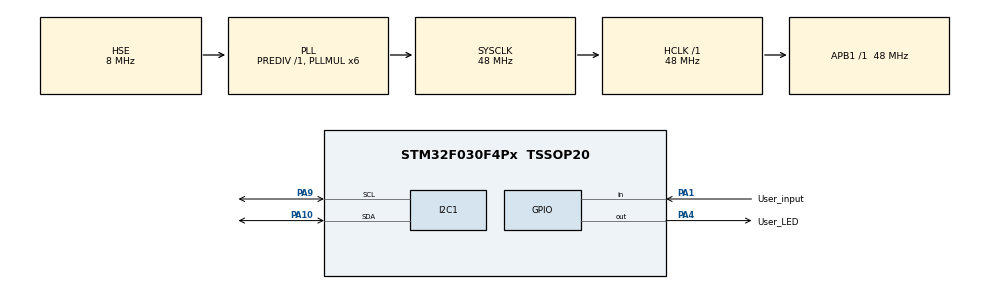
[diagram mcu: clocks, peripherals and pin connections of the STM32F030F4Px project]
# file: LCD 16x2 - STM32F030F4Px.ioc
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Mcu.Family=STM32F0
RCC.PLLSourceVirtual=RCC_PLLSOURCE_HSE
PA10.Mode=I2C
PA1.GPIO_Mode=GPIO_MODE_INPUT
PA10.GPIO_FMA10=__NULL
RCC.SYSCLKSource=RCC_SYSCLKSOURCE_PLLCLK
ProjectManager.StackSize=0x400
PA10.GPIO_Mode=GPIO_MODE_AF_OD
PA13.Signal=SYS_SWDIO
PA9.Mode=I2C
ProjectManager.TargetToolchain=STM32CubeIDE
RCC.HCLKFreq_Value=48000000
PA9.Signal=I2C1_SCL
PA1.GPIO_PuPd=GPIO_PULLUP
PA1.Signal=GPIO_Input
RCC.AHBFreq_Value=48000000
PF0-OSC_IN.Mode=HSE-External-Oscillator
board=custom
RCC.PLLMUL=RCC_PLL_MUL6
PA14.Mode=Serial_Wire
PA1.GPIO_Label=User_input
PA9.GPIO_PuPdOD=GPIO_PULLUP
PA13.Mode=Serial_Wire
Mcu.Name=STM32F030F4Px
PA4.Signal=GPIO_Output
RCC.SYSCLKFreq_VALUE=48000000
Mcu.Package=TSSOP20
PA10.Signal=I2C1_SDA
PA14.Signal=SYS_SWCLK
ProjectManager.HeapSize=0x200
PA10.GPIO_Speed=GPIO_SPEED_FREQ_LOW
RCC.APB1TimFreq_Value=48000000
PA9.GPIO_Speed=GPIO_SPEED_FREQ_LOW
PF0-OSC_IN.Signal=RCC_OSC_IN
PF1-OSC_OUT.Mode=HSE-External-Oscillator
RCC.APB1Freq_Value=48000000
PA4.GPIO_Label=User_LED
PF1-OSC_OUT.Signal=RCC_OSC_OUT

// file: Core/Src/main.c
/* USER CODE BEGIN Header */
/**
 ******************************************************************************
 * @file           : main.c
 * @brief          : Main program body
 ******************************************************************************
 * @attention
 *
 * <h2><center>&copy; Copyright (c) 2021 STMicroelectronics.
 * All rights reserved.</center></h2>
 *
 * This software component is licensed by ST under BSD 3-Clause license,
 * the "License"; You may not use this file except in compliance with the
 * License. You may obtain a copy of the License at:
 *                        opensource.org/licenses/BSD-3-Clause
 *
 ******************************************************************************
 */
/* USER CODE END Header */
#include "main.h"

/* USER CODE BEGIN Includes */
#include "i2c-lcd.h"
/* USER CODE END Includes */

I2C_HandleTypeDef hi2c1;

void SystemClock_Config(void);
static void MX_GPIO_Init(void);
static void MX_I2C1_Init(void);

/* USER CODE BEGIN 0 */

int counter = 0;

char a = 0; //this byte of data is incremented in main() as a test of expressions updating

int tickstart = 0;

int tickend =0;

int tickdiff =0;

int HALver = 0;

/* USER CODE END 0 */

int main(void) {

	/* MCU Configuration--------------------------------------------------------*/

	/* Reset of all peripherals, Initializes the Flash interface and the Systick. */
	HAL_Init();

	/* Configure the system clock */
	SystemClock_Config();

	/* Initialize all configured peripherals */
	MX_GPIO_Init();
	MX_I2C1_Init();
	/* USER CODE BEGIN 2 */

	//lcd_send_cmd(cmd)
	HAL_Delay(500);
	lcd_init();
	HAL_Delay(500);
	lcd_put_cur(0, 0);
	HAL_Delay(500);
	lcd_send_string("Setting up");
	HAL_Delay(500);
	lcd_put_cur(1, 0);
	lcd_send_string("The display");
	HAL_Delay(2000);
	lcd_clear();

	/* USER CODE END 2 */

	/* Infinite loop */
	/* USER CODE BEGIN WHILE */
	while (1) {

		HAL_Delay(500);
		lcd_put_cur(0, 0);
		HAL_Delay(500);
		lcd_send_string("Line 1 text");
		HAL_Delay(500);
		lcd_put_cur(1, 0);
		HAL_Delay(500);
		lcd_send_string("Line 2");
		HAL_Delay(500);
		lcd_clear();

		// Toggle onboard yellow LED
		HAL_Delay(1000);
		HAL_GPIO_TogglePin(User_LED_GPIO_Port, User_LED_Pin);

		  a++;

		  tickstart = HAL_GetTick();

		  HAL_Delay(1000);

		  tickend = HAL_GetTick();

		  tickdiff = tickend - tickstart;

		  HALver = HAL_GetHalVersion();

		  counter++;
		  HAL_Delay(500);

		/* USER CODE END WHILE */

	}
}

void SystemClock_Config(void) {
	RCC_OscInitTypeDef RCC_OscInitStruct = { 0 };
	RCC_ClkInitTypeDef RCC_ClkInitStruct = { 0 };
	RCC_PeriphCLKInitTypeDef PeriphClkInit = { 0 };

	/** Initializes the RCC Oscillators according to the specified parameters
	 * in the RCC_OscInitTypeDef structure.
	 */
	RCC_OscInitStruct.OscillatorType = RCC_OSCILLATORTYPE_HSI
			| RCC_OSCILLATORTYPE_HSE;
	RCC_OscInitStruct.HSEState = RCC_HSE_ON;
	RCC_OscInitStruct.HSIState = RCC_HSI_ON;
	RCC_OscInitStruct.HSICalibrationValue = RCC_HSICALIBRATION_DEFAULT;
	RCC_OscInitStruct.PLL.PLLState = RCC_PLL_ON;
	RCC_OscInitStruct.PLL.PLLSource = RCC_PLLSOURCE_HSE;
	RCC_OscInitStruct.PLL.PLLMUL = RCC_PLL_MUL6;
	RCC_OscInitStruct.PLL.PREDIV = RCC_PREDIV_DIV1;
	if (HAL_RCC_OscConfig(&RCC_OscInitStruct) != HAL_OK) {
		Error_Handler();
	}
	/** Initializes the CPU, AHB and APB buses clocks
	 */
	RCC_ClkInitStruct.ClockType = RCC_CLOCKTYPE_HCLK | RCC_CLOCKTYPE_SYSCLK
			| RCC_CLOCKTYPE_PCLK1;
	RCC_ClkInitStruct.SYSCLKSource = RCC_SYSCLKSOURCE_PLLCLK;
	RCC_ClkInitStruct.AHBCLKDivider = RCC_SYSCLK_DIV1;
	RCC_ClkInitStruct.APB1CLKDivider = RCC_HCLK_DIV1;

	if (HAL_RCC_ClockConfig(&RCC_ClkInitStruct, FLASH_LATENCY_1) != HAL_OK) {
		Error_Handler();
	}
	PeriphClkInit.PeriphClockSelection = RCC_PERIPHCLK_I2C1;
	PeriphClkInit.I2c1ClockSelection = RCC_I2C1CLKSOURCE_HSI;
	if (HAL_RCCEx_PeriphCLKConfig(&PeriphClkInit) != HAL_OK) {
		Error_Handler();
	}
}

static void MX_I2C1_Init(void) {

	hi2c1.Instance = I2C1;
	hi2c1.Init.Timing = 0x2000090E;
	hi2c1.Init.OwnAddress1 = 0;
	hi2c1.Init.AddressingMode = I2C_ADDRESSINGMODE_7BIT;
	hi2c1.Init.DualAddressMode = I2C_DUALADDRESS_DISABLE;
	hi2c1.Init.OwnAddress2 = 0;
	hi2c1.Init.OwnAddress2Masks = I2C_OA2_NOMASK;
	hi2c1.Init.GeneralCallMode = I2C_GENERALCALL_DISABLE;
	hi2c1.Init.NoStretchMode = I2C_NOSTRETCH_DISABLE;
	if (HAL_I2C_Init(&hi2c1) != HAL_OK) {
		Error_Handler();
	}
	/** Configure Analogue filter
	 */
	if (HAL_I2CEx_ConfigAnalogFilter(&hi2c1, I2C_ANALOGFILTER_ENABLE)
			!= HAL_OK) {
		Error_Handler();
	}
	/** Configure Digital filter
	 */
	if (HAL_I2CEx_ConfigDigitalFilter(&hi2c1, 0) != HAL_OK) {
		Error_Handler();
	}

}

static void MX_GPIO_Init(void) {
	GPIO_InitTypeDef GPIO_InitStruct = { 0 };

	/* GPIO Ports Clock Enable */
	__HAL_RCC_GPIOF_CLK_ENABLE();
	__HAL_RCC_GPIOA_CLK_ENABLE();

	/*Configure GPIO pin Output Level */
	HAL_GPIO_WritePin(User_LED_GPIO_Port, User_LED_Pin, GPIO_PIN_RESET);

	/*Configure GPIO pin : User_input_Pin */
	GPIO_InitStruct.Pin = User_input_Pin;
	GPIO_InitStruct.Mode = GPIO_MODE_INPUT;
	GPIO_InitStruct.Pull = GPIO_PULLUP;
	HAL_GPIO_Init(User_input_GPIO_Port, &GPIO_InitStruct);

	/*Configure GPIO pin : User_LED_Pin */
	GPIO_InitStruct.Pin = User_LED_Pin;
	GPIO_InitStruct.Mode = GPIO_MODE_OUTPUT_PP;
	GPIO_InitStruct.Pull = GPIO_NOPULL;
	GPIO_InitStruct.Speed = GPIO_SPEED_FREQ_LOW;
	HAL_GPIO_Init(User_LED_GPIO_Port, &GPIO_InitStruct);

}

void Error_Handler(void) {
	__disable_irq();
	while (1) {
	}
}

/************************ (C) COPYRIGHT STMicroelectronics *****END OF FILE****/
